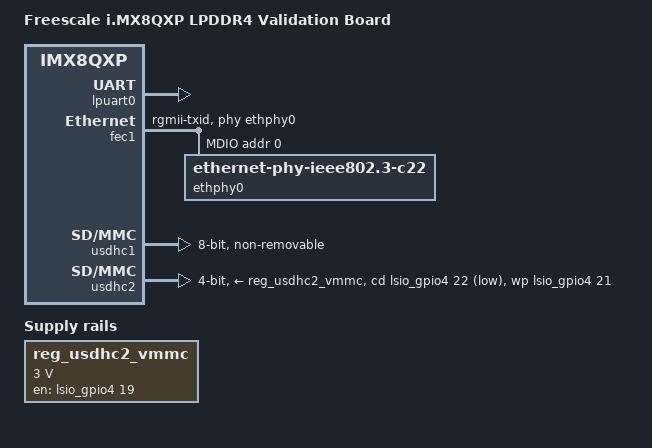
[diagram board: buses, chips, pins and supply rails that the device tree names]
// SPDX-License-Identifier: GPL-2.0+
/*
 * Copyright 2017~2018 NXP
 */

/dts-v1/;

#include <dt-bindings/usb/pd.h>
#include "imx8qxp.dtsi"

/ {
	model = "Freescale i.MX8QXP LPDDR4 Validation Board";
	compatible = "fsl,imx8qxp-lpddr4-val", "fsl,imx8qxp";

	chosen {
		stdout-path = &lpuart0;
	};

	reserved-memory {
		#address-cells = <2>;
		#size-cells = <2>;
		ranges;

		/*
		 * 0x8800_0000 ~ 0x8FFF_FFFF is reserved for M4
		 * Shouldn't be used at A core and Linux side.
		 *
		 */
		m4_reserved: m4@0x88000000 {
			no-map;
			reg = <0 0x88000000 0 0x8000000>;
		};

		rpmsg_reserved: rpmsg@0x90000000 {
			no-map;
			reg = <0 0x90000000 0 0x400000>;
		};

		rpmsg_dma_reserved:rpmsg_dma@0x90400000 {
			compatible = "shared-dma-pool";
			no-map;
			reg = <0 0x90400000 0 0x100000>;
		};

		decoder_boot: decoder-boot@84000000 {
			reg = <0 0x84000000 0 0x2000000>;
			no-map;
		};

		encoder_boot: encoder-boot@86000000 {
			reg = <0 0x86000000 0 0x200000>;
			no-map;
		};

		decoder_rpc: decoder-rpc@0x92000000 {
			reg = <0 0x92000000 0 0x200000>;
			no-map;
		};

		encoder_rpc: encoder-rpc@0x92200000 {
			reg = <0 0x92200000 0 0x200000>;
			no-map;
		};

		encoder_reserved: encoder_reserved@94400000 {
			no-map;
			reg = <0 0x94400000 0 0x800000>;
		};

		/* global autoconfigured region for contiguous allocations */
		linux,cma {
			compatible = "shared-dma-pool";
			reusable;
			size = <0 0x3c000000>;
			alloc-ranges = <0 0x96000000 0 0x3c000000>;
			linux,cma-default;
		};
	};

	reg_usdhc2_vmmc: usdhc2-vmmc {
		compatible = "regulator-fixed";
		regulator-name = "SD1_SPWR";
		regulator-min-microvolt = <3000000>;
		regulator-max-microvolt = <3000000>;
		gpio = <&lsio_gpio4 19 GPIO_ACTIVE_HIGH>;
		enable-active-high;
	};
};

&lpuart0 {
	pinctrl-names = "default";
	pinctrl-0 = <&pinctrl_lpuart0>;
	status = "okay";
};

&fec1 {
	pinctrl-names = "default";
	pinctrl-0 = <&pinctrl_fec1>;
	phy-mode = "rgmii-txid";
	phy-handle = <&ethphy0>;
	fsl,magic-packet;
	nvmem-cells = <&fec_mac0>;
	nvmem-cell-names = "mac-address";
	fsl,rgmii_rxc_dly;
	status = "okay";

	mdio {
		#address-cells = <1>;
		#size-cells = <0>;

		ethphy0: ethernet-phy@0 {
			compatible = "ethernet-phy-ieee802.3-c22";
			reg = <0>;
			at803x,eee-disabled;
			at803x,vddio-1p8v;
		};

		ethphy1: ethernet-phy@1 {
			compatible = "ethernet-phy-ieee802.3-c22";
			reg = <1>;
			at803x,eee-disabled;
			at803x,vddio-1p8v;
			status = "disabled";
		};
	};
};

&usdhc1 {
	pinctrl-names = "default", "state_100mhz", "state_200mhz";
	pinctrl-0 = <&pinctrl_usdhc1>;
	pinctrl-1 = <&pinctrl_usdhc1>;
	pinctrl-2 = <&pinctrl_usdhc1>;
	bus-width = <8>;
	no-sd;
	no-sdio;
	non-removable;
	status = "okay";
};

&usdhc2 {
	pinctrl-names = "default", "state_100mhz", "state_200mhz";
	pinctrl-0 = <&pinctrl_usdhc2>, <&pinctrl_usdhc2_gpio>;
	pinctrl-1 = <&pinctrl_usdhc2>, <&pinctrl_usdhc2_gpio>;
	pinctrl-2 = <&pinctrl_usdhc2>, <&pinctrl_usdhc2_gpio>;
	bus-width = <4>;
	vmmc-supply = <&reg_usdhc2_vmmc>;
	cd-gpios = <&lsio_gpio4 22 GPIO_ACTIVE_LOW>;
	wp-gpios = <&lsio_gpio4 21 GPIO_ACTIVE_HIGH>;
	status = "okay";
};

&thermal_zones {
	pmic-thermal0 {
		polling-delay-passive = <250>;
		polling-delay = <2000>;
		thermal-sensors = <&tsens 497>;
		trips {
			pmic_alert0: trip0 {
				temperature = <110000>;
				hysteresis = <2000>;
				type = "passive";
			};
			pmic_crit0: trip1 {
				temperature = <125000>;
				hysteresis = <2000>;
				type = "critical";
			};
		};
		cooling-maps {
			map0 {
				trip = <&pmic_alert0>;
				cooling-device =
					<&A35_0 THERMAL_NO_LIMIT THERMAL_NO_LIMIT>;
			};
		};
	};
};

&iomuxc {
	pinctrl-names = "default";

	pinctrl_fec1: fec1grp {
		fsl,pins = <
			IMX8QXP_COMP_CTL_GPIO_1V8_3V3_ENET_ENETB0_PAD		0x000014a0
			IMX8QXP_COMP_CTL_GPIO_1V8_3V3_ENET_ENETB1_PAD		0x000014a0
			IMX8QXP_ENET0_MDC_CONN_ENET0_MDC			0x06000020
			IMX8QXP_ENET0_MDIO_CONN_ENET0_MDIO			0x06000020
			IMX8QXP_ENET0_RGMII_TX_CTL_CONN_ENET0_RGMII_TX_CTL	0x06000020
			IMX8QXP_ENET0_RGMII_TXC_CONN_ENET0_RGMII_TXC		0x06000020
			IMX8QXP_ENET0_RGMII_TXD0_CONN_ENET0_RGMII_TXD0		0x06000020
			IMX8QXP_ENET0_RGMII_TXD1_CONN_ENET0_RGMII_TXD1		0x06000020
			IMX8QXP_ENET0_RGMII_TXD2_CONN_ENET0_RGMII_TXD2		0x06000020
			IMX8QXP_ENET0_RGMII_TXD3_CONN_ENET0_RGMII_TXD3		0x06000020
			IMX8QXP_ENET0_RGMII_RXC_CONN_ENET0_RGMII_RXC		0x06000020
			IMX8QXP_ENET0_RGMII_RX_CTL_CONN_ENET0_RGMII_RX_CTL	0x06000020
			IMX8QXP_ENET0_RGMII_RXD0_CONN_ENET0_RGMII_RXD0		0x06000020
			IMX8QXP_ENET0_RGMII_RXD1_CONN_ENET0_RGMII_RXD1		0x06000020
			IMX8QXP_ENET0_RGMII_RXD2_CONN_ENET0_RGMII_RXD2		0x06000020
			IMX8QXP_ENET0_RGMII_RXD3_CONN_ENET0_RGMII_RXD3		0x06000020
		>;
	};

	pinctrl_lpuart0: lpuart0grp {
		fsl,pins = <
			IMX8QXP_UART0_RX_ADMA_UART0_RX				0x06000020
			IMX8QXP_UART0_TX_ADMA_UART0_TX				0x06000020
		>;
	};

	pinctrl_usdhc1: usdhc1grp {
		fsl,pins = <
			IMX8QXP_EMMC0_CLK_CONN_EMMC0_CLK			0x06000041
			IMX8QXP_EMMC0_CMD_CONN_EMMC0_CMD			0x00000021
			IMX8QXP_EMMC0_DATA0_CONN_EMMC0_DATA0			0x00000021
			IMX8QXP_EMMC0_DATA1_CONN_EMMC0_DATA1			0x00000021
			IMX8QXP_EMMC0_DATA2_CONN_EMMC0_DATA2			0x00000021
			IMX8QXP_EMMC0_DATA3_CONN_EMMC0_DATA3			0x00000021
			IMX8QXP_EMMC0_DATA4_CONN_EMMC0_DATA4			0x00000021
			IMX8QXP_EMMC0_DATA5_CONN_EMMC0_DATA5			0x00000021
			IMX8QXP_EMMC0_DATA6_CONN_EMMC0_DATA6			0x00000021
			IMX8QXP_EMMC0_DATA7_CONN_EMMC0_DATA7			0x00000021
			IMX8QXP_EMMC0_STROBE_CONN_EMMC0_STROBE			0x00000041
		>;
	};

	pinctrl_usdhc2_gpio: usdhc2gpiogrp {
		fsl,pins = <
			IMX8QXP_USDHC1_RESET_B_LSIO_GPIO4_IO19     0x00000021
			IMX8QXP_USDHC1_WP_LSIO_GPIO4_IO21          0x00000021
			IMX8QXP_USDHC1_CD_B_LSIO_GPIO4_IO22        0x00000021
		>;
	};


	pinctrl_usdhc2: usdhc2grp {
		fsl,pins = <
			IMX8QXP_USDHC1_CLK_CONN_USDHC1_CLK			0x06000041
			IMX8QXP_USDHC1_CMD_CONN_USDHC1_CMD			0x00000021
			IMX8QXP_USDHC1_DATA0_CONN_USDHC1_DATA0			0x00000021
			IMX8QXP_USDHC1_DATA1_CONN_USDHC1_DATA1			0x00000021
			IMX8QXP_USDHC1_DATA2_CONN_USDHC1_DATA2			0x00000021
			IMX8QXP_USDHC1_DATA3_CONN_USDHC1_DATA3			0x00000021
			IMX8QXP_USDHC1_VSELECT_CONN_USDHC1_VSELECT		0x00000021
		>;
	};
};
